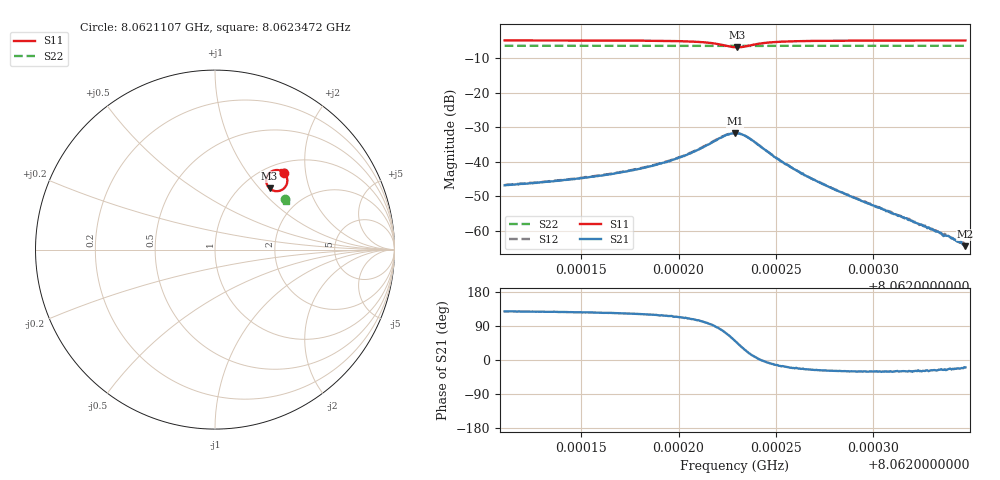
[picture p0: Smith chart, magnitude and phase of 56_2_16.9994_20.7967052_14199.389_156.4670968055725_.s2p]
#  HZ  S  RI  R  50.00
! Rohde & Schwarz Vector Network Analyzer
! Rohde-Schwarz,ZNB20-2Port,1311601062101988,3.16
! Created: UTC 3/20/2024, 10:54:36 PM
! freq[Hz]  re:S11  im:S11  re:S21  im:S21  re:S12  im:S12  re:S22  im:S22
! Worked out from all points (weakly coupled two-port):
!   401 points, 8.0621107 GHz to 8.0623472 GHz, reference 50 ohm
!   highest |S21| = -31.70 dB at 8.062229 GHz (marker M1); lowest = -64.5 dB at 8.0623472 GHz (marker M2)
!   lowest |S11| = -6.8 dB at 8.0622302 GHz (marker M3), VSWR 2.68, Z = 65.9 + j56.8 ohm
!   |S11| at or under -10 dB: nowhere
!   |S22| runs from -6.4 to -6.3 dB; largest |S21 - S12| = 0.002
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8.06211074e9  0.385 0.4274  -0.00282 0.00359  -0.00263 0.00378  0.3893 0.284
8.06215035e9  0.3906 0.4207  -0.00338 0.00471  -0.00314 0.00496  0.3906 0.2818
8.06217045e9  0.3947 0.4147  -0.00384 0.00587  -0.00352 0.00618  0.3913 0.2806
8.06218051e9  0.3971 0.4101  -0.00411 0.00682  -0.00376 0.0072  0.3917 0.2799
8.06218997e9  0.3998 0.4037  -0.00442 0.00825  -0.00396 0.00853  0.3918 0.2791
8.06220297e9  0.4029 0.3883  -0.0043 0.0114  -0.00375 0.0118  0.3922 0.2778
8.06221598e9  0.3952 0.3548  -0.00165 0.0181  -0.0004 0.0186  0.3918 0.2758
8.06222366e9  0.3603 0.3277  0.00665 0.0229  0.00833 0.0226  0.3902 0.275
8.06222603e9  0.3406 0.3255  0.0109 0.0226  0.0128 0.0222  0.3893 0.2751
8.06222899e9  0.3138 0.3337  0.0165 0.0201  0.018 0.019  0.3885 0.2758
8.06223017e9  0.3044 0.3407  0.0184 0.0182  0.0198 0.017  0.3882 0.2761
8.06223312e9  0.2884 0.3647  0.021 0.0127  0.022 0.0111  0.3881 0.2773
8.06223549e9  0.285 0.3853  0.0211 0.00793  0.0218 0.00659  0.3883 0.2781
8.06224377e9  0.3065 0.4296  0.0153 -0.000823  0.0153 -0.00181  0.3901 0.2792
8.06225323e9  0.3321 0.442  0.00953 -0.00273  0.0094 -0.00344  0.3916 0.2788
8.0622686e9  0.3536 0.4426  0.00508 -0.00245  0.00496 -0.00277  0.393 0.2779
8.06228397e9  0.3639 0.4398  0.00313 -0.00178  0.00301 -0.00194  0.3939 0.2768
8.06230821e9  0.3726 0.436  0.00163 -0.000962  0.00155 -0.00103  0.3949 0.2754
8.06233363e9  0.3778 0.4329  0.000859 -0.000408  0.000827 -0.000473  0.3959 0.2741
8.06233659e9  0.3784 0.4327  0.000779 -0.000354  0.000804 -0.000409  0.3961 0.274
8.06233836e9  0.3786 0.4327  0.00077 -0.00035  0.000712 -0.000393  0.3962 0.2738
8.06234723e9  0.38 0.4316  0.000563 -0.000201  0.000565 -0.000246  0.3964 0.2734
